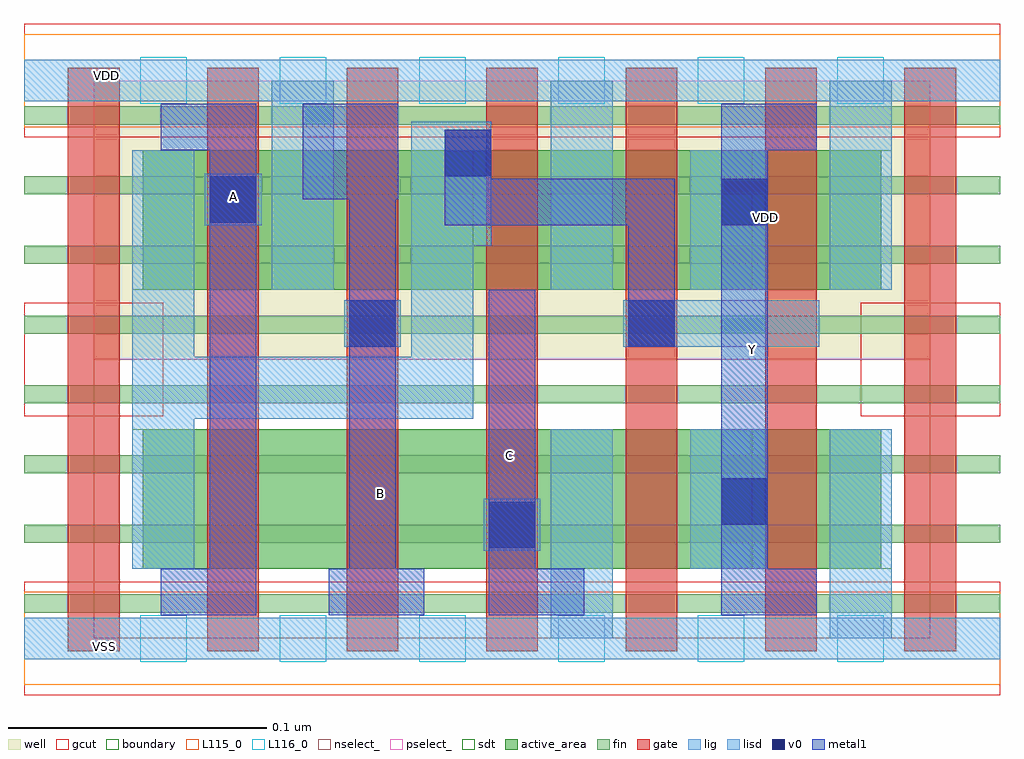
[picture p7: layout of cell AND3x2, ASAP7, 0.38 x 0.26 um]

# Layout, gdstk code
import gdstk
lib = gdstk.Library(unit=1e-6, precision=2.5e-10)
def R(c, l, rs):  # rectangles x0, y0, x1, y1
    for r in rs: c.add(gdstk.rectangle(r[:2], r[2:], *l))
def A(c, l, x, y, w, h, nx, ny, dx, dy):  # array of equal rectangles
    R(c, l, [(x+i*dx, y+j*dy, x+i*dx+w, y+j*dy+h) for i in range(nx) for j in range(ny)])
def P(c, l, *ps):  # polygons
    for p in ps: c.add(gdstk.Polygon(p, *l))
well = (1, 0)
fin = (2, 0)
gate = (7, 0)
gcut = (10, 0)
active_area = (11, 0)
nselect_ = (12, 0)
pselect_ = (13, 0)
lig = (16, 0)
lisd = (17, 0)
v0 = (18, 0)
metal1 = (19, 0)
sdt = (88, 0)
boundary = (100, 0)
L115_0 = (115, 0)
L116_0 = (116, 0)

and3x2 = lib.new_cell('AND3x2')
R(and3x2, well, [(0,0.108,0.324,0.216)])
A(and3x2, fin, -0.027, 0.01, 0.378, 0.007, 1, 8, 0, 0.027)
A(and3x2, gate, -0.01, -0.005, 0.02, 0.226, 6, 1, 0.054, 0)
R(and3x2, gate, [(0.26,-0.005,0.28,0.221), (0.26,-0.005,0.28,0.221), (0.26,-0.005,0.28,0.221), (0.26,-0.005,0.28,0.221), (0.314,-0.005,0.334,0.221)])
R(and3x2, gcut, [(-0.027,-0.022,0.351,0.022), (-0.027,0.086,0.027,0.13), (0.297,0.086,0.351,0.13), (-0.027,0.194,0.351,0.238)])
R(and3x2, active_area, [(0.019,0.027,0.305,0.081), (0.019,0.135,0.305,0.189)])
R(and3x2, nselect_, [(0,0,0.324,0.108)])
R(and3x2, pselect_, [(0,0.108,0.324,0.216)])
R(and3x2, lig, [(-0.027,-0.008,0.351,0.008), (0.151,0.034,0.173,0.054), (0.097,0.113,0.119,0.131), (0.205,0.113,0.281,0.131), (0.043,0.16,0.065,0.18), (-0.027,0.208,0.351,0.224)])
A(and3x2, lisd, 0.069, 0.135, 0.024, 0.081, 3, 1, 0.108, 0)
R(and3x2, lisd, [(0.177,0,0.201,0.081), (0.285,0,0.309,0.081), (0.231,0.027,0.261,0.081), (0.231,0.135,0.261,0.189)])
P(and3x2, lisd, [(0.154,0.2),(0.123,0.2),(0.123,0.109),(0.039,0.109),(0.039,0.189),(0.015,0.189),(0.015,0.027),(0.039,0.027),(0.039,0.085),(0.147,0.085),(0.147,0.152),(0.154,0.152)])
R(and3x2, v0, [(0.153,0.035,0.171,0.053), (0.243,0.044,0.261,0.062), (0.099,0.113,0.117,0.131), (0.207,0.113,0.225,0.131), (0.243,0.16,0.261,0.178), (0.045,0.161,0.063,0.179), (0.136,0.179,0.154,0.197)])
R(and3x2, metal1, [(0.026,0.009,0.063,0.027), (0.045,0.009,0.063,0.207), (0.091,0.009,0.128,0.027), (0.099,0.009,0.117,0.207), (0.153,0.009,0.19,0.027), (0.153,0.009,0.171,0.135), (0.243,0.009,0.28,0.027), (0.243,0.009,0.261,0.207), (0.207,0.113,0.225,0.178), (0.136,0.16,0.207,0.178), (0.136,0.16,0.154,0.197), (0.081,0.17,0.118,0.207), (0.026,0.189,0.063,0.207), (0.243,0.189,0.28,0.207)])
A(and3x2, sdt, 0.177, 0.027, 0.024, 0.054, 3, 1, 0.054, 0)
A(and3x2, sdt, 0.015, 0.135, 0.024, 0.054, 6, 1, 0.054, 0)
R(and3x2, sdt, [(0.015,0.027,0.039,0.081)])
R(and3x2, boundary, [(0,0,0.324,0.216)])
R(and3x2, L115_0, [(-0.027,-0.018,0.351,0.018), (-0.027,0.198,0.351,0.234)])
A(and3x2, L116_0, 0.018, -0.009, 0.018, 0.018, 6, 2, 0.054, 0.216)
and3x2.add(gdstk.Label('Y', (0.255,0.112), layer=19, texttype=251))
and3x2.add(gdstk.Label('A', (0.054,0.171), layer=19, texttype=251))
and3x2.add(gdstk.Label('C', (0.161,0.071), layer=19, texttype=251))
and3x2.add(gdstk.Label('B', (0.111,0.056), layer=19, texttype=251))
and3x2.add(gdstk.Label('VDD', (0.26,0.163), layer=1, texttype=251))
and3x2.add(gdstk.Label('VSS', (0.383,0.163), layer=3, texttype=251))
and3x2.add(gdstk.Label('VDD', (0.005,0.218), layer=115, texttype=251))
and3x2.add(gdstk.Label('VSS', (0.004,-0.003), layer=115, texttype=251))

lib.write_gds('AND3x2.gds')
